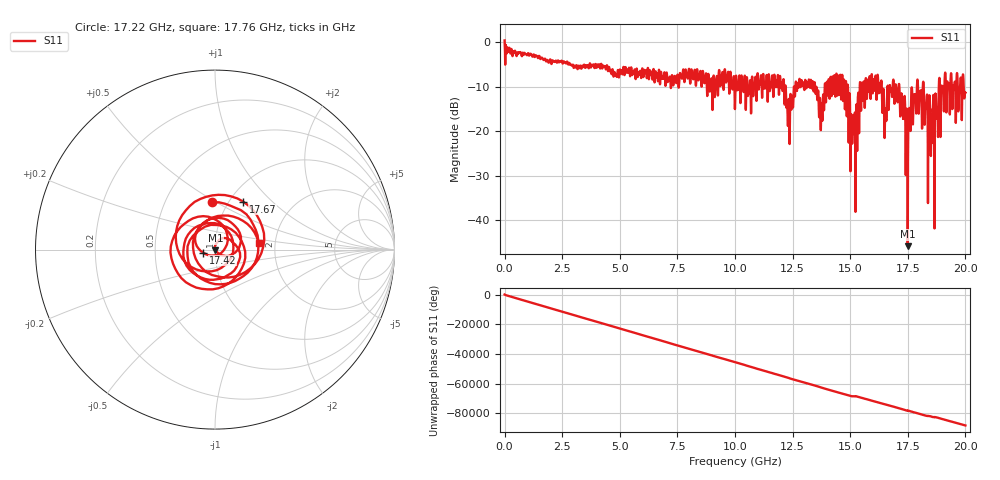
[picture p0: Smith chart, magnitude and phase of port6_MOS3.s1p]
! MS46122B
! 2250307/22442219
! 7/25/2025 1:40:39 PM
! C:\USERS\SPARKY\DOCUMENTS\VNA_DATA\JULY25_2025\3K\PORT6_MOS3.S1P
! CHANNEL.1
! TR.MEASUREMENT
! RAW.DATA
# GHZ S RI R 50.0
! FREQ.GHZ  S11RE  S11IM
!; PortSelection: Port_1
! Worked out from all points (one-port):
!   10001 points, 1 MHz to 20 GHz, reference 50 ohm
!   lowest |S11| = -45.9 dB at 17.5 GHz (marker M1), VSWR 1.01, Z = 50.2 - j0.477 ohm
!   |S11| at or under -10 dB: 14.9 GHz to 15.42 GHz (514.6 MHz wide, 3.4 % of centre); 17.13 GHz to 17.9 GHz (764.6 MHz wide, 4.37 % of centre); 18.19 GHz to 18.85 GHz (657.1 MHz wide, 3.55 % of centre) (the widest 3 of 88)
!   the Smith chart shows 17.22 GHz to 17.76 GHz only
!   S11 on the Smith chart (normalised r, x): 17.22 GHz: 0.85, +0.48; 17.42 GHz: 0.88, -0.03; 17.67 GHz: 1.16, +0.68; 17.76 GHz: 1.63, +0.13
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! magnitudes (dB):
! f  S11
! 1 MHz  0.4
! 2.501 GHz  -4.5
! 5.001 GHz  -6.2
! 7.501 GHz  -7.3
! 10 GHz  -14.7
! 11.79 GHz  -8.6
! 12.31 GHz  -16.9
! 12.5 GHz  -13.4
! 13.29 GHz  -8.5
! 13.73 GHz  -19.7
! 14.48 GHz  -7.5
! 15 GHz  -17.9
! 15.22 GHz  -19.1
! 15.5 GHz  -9.3
! 15.85 GHz  -7.8
! 16.27 GHz  -9.1
! 16.49 GHz  -21.0
! 16.8 GHz  -10.8
! 17.22 GHz  -11.6
! 17.42 GHz  -23.6
! 17.5 GHz  -45.9
! 17.5 GHz  -40.6
! 17.67 GHz  -10.2
! 17.76 GHz  -12.2
! 18.11 GHz  -15.4
! 18.46 GHz  -14.8
! 19.05 GHz  -11.7
! 20 GHz  -11.4
